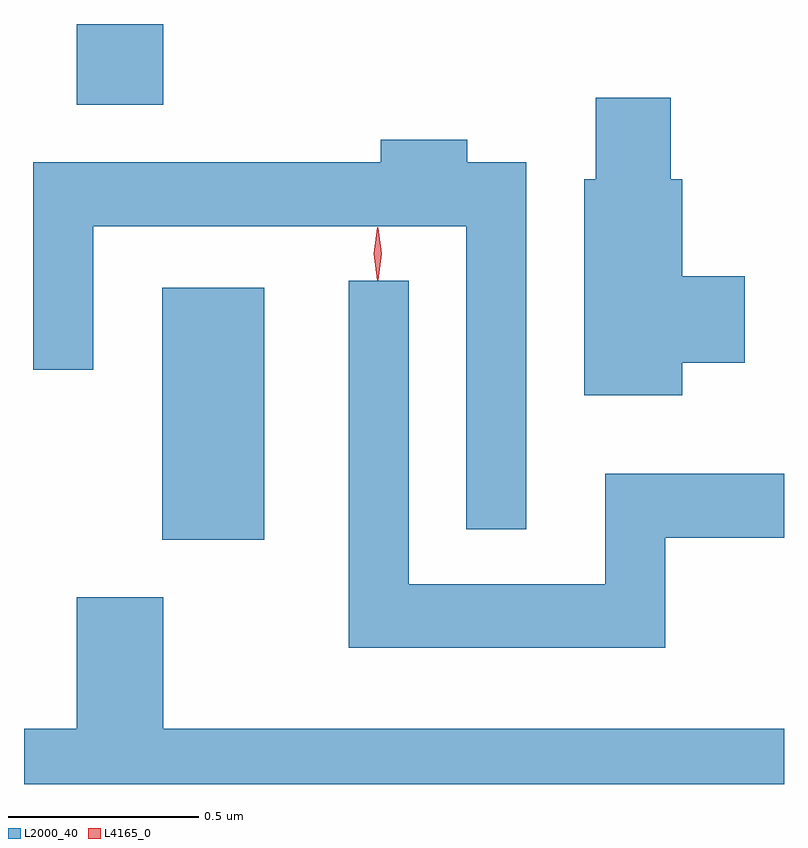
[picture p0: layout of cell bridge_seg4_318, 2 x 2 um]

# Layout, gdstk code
import gdstk
lib = gdstk.Library(unit=1e-6, precision=1e-09)
def R(c, l, rs):  # rectangles x0, y0, x1, y1
    for r in rs: c.add(gdstk.rectangle(r[:2], r[2:], *l))
def P(c, l, *ps):  # polygons
    for p in ps: c.add(gdstk.Polygon(p, *l))
L2000_40 = (2000, 40)
L4165_0 = (4165, 0)

bridge_seg4_318 = lib.new_cell('bridge_seg4_318')
R(bridge_seg4_318, L2000_40, [(517.186,1311.041,517.454,1311.704), (516.961,1312.186,517.189,1312.398)])
P(bridge_seg4_318, L2000_40, [(518.554,1311.506),(518.719,1311.506),(518.719,1311.734),(518.554,1311.734),(518.554,1311.989),(518.524,1311.989),(518.524,1312.204),(518.326,1312.204),(518.326,1311.989),(518.296,1311.989),(518.296,1311.421),(518.554,1311.421)],
  [(518.144,1312.034),(517.989,1312.034),(517.989,1312.094),(517.761,1312.094),(517.761,1312.034),(516.846,1312.034),(516.846,1311.488),(517.004,1311.488),(517.004,1311.866),(517.986,1311.866),(517.986,1311.068),(518.144,1311.068)],
  [(518.509,1311.046),(518.822,1311.046),(518.822,1311.214),(518.351,1311.214),(518.351,1310.924),(517.834,1310.924),(517.834,1311.723),(517.676,1311.723),(517.676,1310.756),(518.509,1310.756)],
  [(518.822,1310.544),(517.189,1310.544),(517.189,1310.889),(516.961,1310.889),(516.961,1310.544),(516.822,1310.544),(516.822,1310.398),(518.822,1310.398)])
P(bridge_seg4_318, L4165_0, [(517.752,1311.724),(517.743,1311.793),(517.752,1311.862),(517.753,1311.863),(517.754,1311.862),(517.763,1311.793),(517.754,1311.724),(517.753,1311.724)])

lib.write_gds('bridge_seg4_318.gds')
